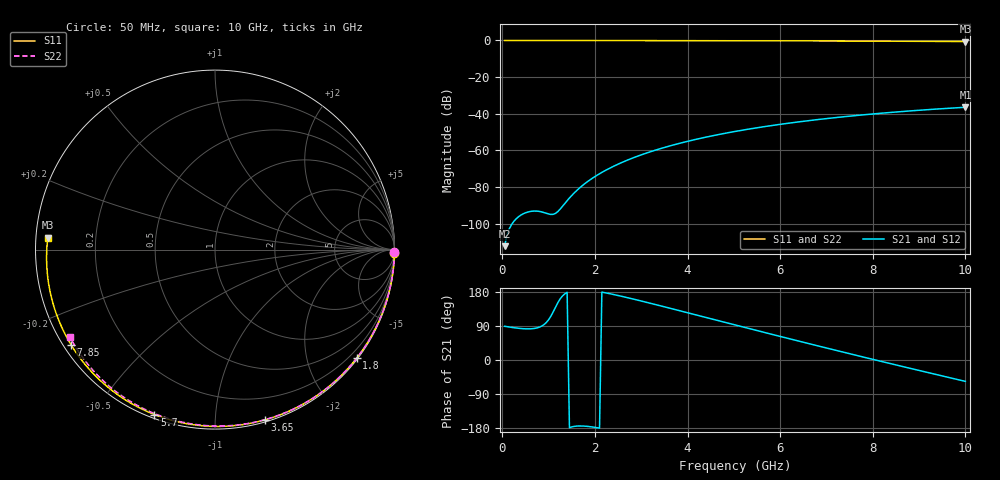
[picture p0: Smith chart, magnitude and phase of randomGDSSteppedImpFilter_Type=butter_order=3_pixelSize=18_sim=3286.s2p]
! freq	dB(S11)	phase(S11)	dB(S12)	phase(S12)
!  dB(S21)	phase(S21)	dB(S22)	phase(S22)
!S-par simulation data
#  GHz  S  DB  R 50
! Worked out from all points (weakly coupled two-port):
!   200 points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, 50 MHz to 10 GHz, reference 50 ohm
!   highest |S21| = -36.46 dB at 10 GHz (marker M1); lowest = -112.3 dB at 50 MHz (marker M2)
!   lowest |S11| = -0.6 dB at 10 GHz (marker M3), VSWR 29.32, Z = 1.71 + j1.79 ohm
!   |S11| at or under -10 dB: nowhere
!   |S22| runs from -0.5 to 0.0 dB; largest |S21 - S12| = 0
!   S11 on the Smith chart (normalised r, x): 50 MHz: open; 1.8 GHz: 0.03, -2.95; 3.65 GHz: 0.02, -1.34; 5.7 GHz: 0.02, -0.70; 7.85 GHz: 0.02, -0.30; 10 GHz: 0.03, +0.04
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0.05  -0.00 -1.1  -112.26 89.0  -112.26 89.0  -0.00 -0.9
0.4  -0.01 -8.5  -95.32 83.1  -95.32 83.1  -0.01 -6.9
0.8  -0.02 -16.9  -93.29 86.6  -93.29 86.6  -0.02 -13.7
1.2  -0.03 -25.2  -93.36 151.4  -93.36 151.4  -0.03 -20.4
1.65  -0.04 -34.4  -80.90 -174.2  -80.90 -174.2  -0.04 -28.0
1.7  -0.05 -35.4  -79.80 -174.1  -79.80 -174.1  -0.04 -28.8
1.75  -0.05 -36.4  -78.77 -174.3  -78.77 -174.3  -0.04 -29.6
1.8  -0.05 -37.4  -77.78 -174.7  -77.78 -174.7  -0.04 -30.5
2.1  -0.06 -43.5  -72.72 -179.7  -72.72 -179.7  -0.05 -35.4
2.5  -0.07 -51.4  -67.50 170.2  -67.50 170.2  -0.05 -41.9
2.9  -0.08 -59.3  -63.35 158.7  -63.35 158.7  -0.06 -48.4
3.4  -0.09 -68.8  -59.13 143.5  -59.13 143.5  -0.07 -56.3
3.65  -0.10 -73.5  -57.32 135.7  -57.32 135.7  -0.08 -60.2
4.35  -0.12 -86.4  -53.02 113.7  -53.02 113.7  -0.10 -70.9
5.05  -0.15 -98.9  -49.55 91.8  -49.55 91.8  -0.13 -81.3
5.7  -0.18 -110.2  -46.87 71.5  -46.87 71.5  -0.15 -90.7
6.7  -0.25 -127.2  -43.50 40.7  -43.50 40.7  -0.20 -104.7
7.3  -0.29 -137.2  -41.82 22.6  -41.82 22.6  -0.24 -112.9
7.85  -0.34 -146.5  -40.46 6.2  -40.46 6.2  -0.28 -120.3
8.35  -0.39 -154.9  -39.35 -8.6  -39.35 -8.6  -0.33 -127.0
9.2  -0.49 -169.6  -37.73 -33.4  -37.73 -33.4  -0.41 -138.3
10  -0.59 175.9  -36.46 -56.4  -36.46 -56.4  -0.50 -149.0
